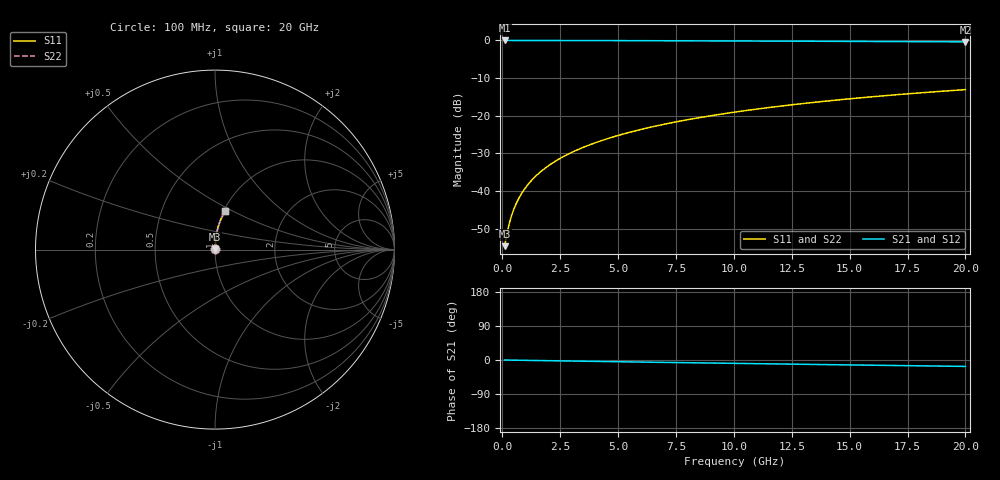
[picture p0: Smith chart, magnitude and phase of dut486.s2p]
! Touchstone file exported from HFSS 2024.1.0
!  File:  C:/UserFiles/LocalFiles/RDL_TSV_Batchsim/temp_RDL_top_486_1779678527.aedt
!  Generated:  11:10:57 AM May 25, 2026
!  Design:  RDL_top
!  Project:  temp_RDL_top_486_1779678527
!  Setup:  Setup1
!  Solution:  Sweep
! Variables:
!  dtsv = 10.80580581um
!  hbump = 3um
!  htsv = 59.37um
!  ldown = 100um
!  lrdl = 170.59um
!  p = 40
!  p1 = 53.84um
!  rhole = 1um
!  t = 450um
!  tdown = 3.915915916um
!  trdl = 3.17um
!  wdown = 15.38538539um
!  wrdl = 15.03um
# GHz S MA R 50.000000
! Terminal data exported
! Port[1] = Box2_T1
! Port[2] = Box2_T2
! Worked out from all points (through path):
!   200 points, 100 MHz to 20 GHz, reference 50 ohm
!   highest |S21| = -0.01 dB at 100 MHz (marker M1); lowest = -0.4 dB at 20 GHz (marker M2)
!   group delay of S21, straight-line fit = 2.34 ps
!   lowest |S11| = -54.7 dB at 100 MHz (marker M3), VSWR 1.00, Z = 50.1 + j0.113 ohm
!   |S11| at or under -10 dB: start of sweep to end of sweep
!   |S22| runs from -54.7 to -13.1 dB; largest |S21 - S12| = 3.2e-15
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0.1  0.001849 37.4  0.9985 -0.1  0.9985 -0.1  0.001849 37.4
! Gamma 0 0 0 0
! Port Impedance 50 0 50 0
0.2  0.002692 56.3  0.9985 -0.2  0.9985 -0.2  0.002692 56.3
0.3  0.003678 65.5  0.9985 -0.3  0.9985 -0.3  0.003678 65.5
0.4  0.004707 70.6  0.9984 -0.4  0.9984 -0.4  0.004707 70.6
0.5  0.005751 73.8  0.9984 -0.5  0.9984 -0.5  0.005751 73.8
0.6  0.0068 76.1  0.9983 -0.6  0.9983 -0.6  0.0068 76.1
0.8  0.008908 79.0  0.9982 -0.8  0.9982 -0.8  0.008908 79.0
1.1  0.01209 81.6  0.998 -1.0  0.998 -1.0  0.01209 81.6
1.5  0.01635 83.4  0.9978 -1.4  0.9978 -1.4  0.01635 83.4
1.8  0.01957 84.3  0.9976 -1.7  0.9976 -1.7  0.01957 84.3
2.1  0.0228 84.8  0.9973 -2.0  0.9973 -2.0  0.0228 84.8
2.7  0.0293 85.5  0.9968 -2.5  0.9968 -2.5  0.0293 85.5
3.5  0.03803 85.9  0.9958 -3.2  0.9958 -3.2  0.03803 85.9
4.2  0.04574 86.0  0.9948 -3.9  0.9948 -3.9  0.04574 86.0
5  0.05462 85.9  0.9935 -4.6  0.9935 -4.6  0.05462 85.9
5.9  0.0647 85.6  0.9919 -5.4  0.9919 -5.4  0.0647 85.6
6.8  0.07484 85.2  0.9902 -6.2  0.9902 -6.2  0.07484 85.2
8.3  0.09185 84.3  0.9871 -7.4  0.9871 -7.4  0.09185 84.3
10.1  0.1123 83.1  0.9831 -9.0  0.9831 -9.0  0.1123 83.1
13.4  0.1497 80.5  0.9751 -11.7  0.9751 -11.7  0.1497 80.5
16.7  0.1864 77.8  0.9665 -14.3  0.9665 -14.3  0.1864 77.8
20  0.2221 75.1  0.9572 -16.9  0.9572 -16.9  0.2222 75.1
